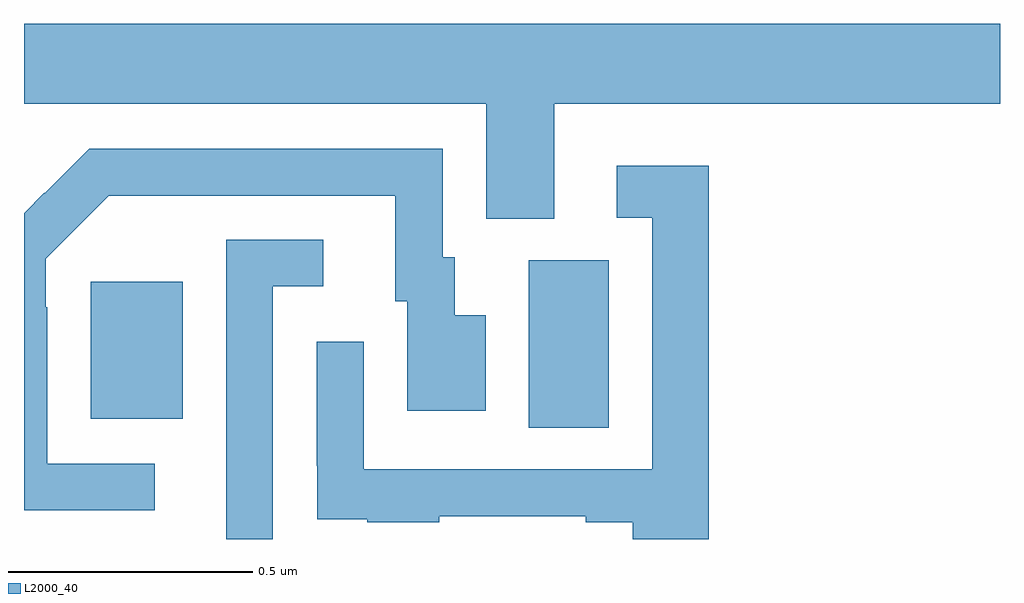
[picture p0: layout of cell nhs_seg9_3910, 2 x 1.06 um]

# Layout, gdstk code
import gdstk
lib = gdstk.Library(unit=1e-6, precision=1e-09)
def R(c, l, rs):  # rectangles x0, y0, x1, y1
    for r in rs: c.add(gdstk.rectangle(r[:2], r[2:], *l))
def P(c, l, *ps):  # polygons
    for p in ps: c.add(gdstk.Polygon(p, *l))
L2000_40 = (2000, 40)

nhs_seg9_3910 = lib.new_cell('nhs_seg9_3910')
R(nhs_seg9_3910, L2000_40, [(160.034,1223.728,160.198,1224.072), (159.137,1223.747,159.325,1224.028)])
P(nhs_seg9_3910, L2000_40, [(160.087,1224.392),(161,1224.392),(161,1224.556),(159,1224.556),(159,1224.392),(159.947,1224.392),(159.947,1224.157),(160.087,1224.157)],
  [(159.268,1223.655),(159.048,1223.655),(159.048,1223.975),(159.045,1223.975),(159.045,1224.075),(159.174,1224.204),(159.761,1224.204),(159.761,1223.988),(159.785,1223.988),(159.785,1223.763),(159.946,1223.763),(159.946,1223.959),(159.883,1223.959),(159.883,1224.078),(159.858,1224.078),(159.858,1224.3),(159.134,1224.3),(159.043,1224.209),(159.042,1224.21),(159,1224.168),(159,1223.559),(159.268,1223.559)],
  [(160.403,1224.265),(160.215,1224.265),(160.215,1224.159),(160.287,1224.159),(160.287,1223.643),(159.696,1223.643),(159.696,1223.905),(159.6,1223.905),(159.6,1223.65),(159.601,1223.65),(159.601,1223.541),(159.703,1223.541),(159.703,1223.535),(159.851,1223.535),(159.851,1223.547),(160.151,1223.547),(160.151,1223.535),(160.247,1223.535),(160.247,1223.5),(160.403,1223.5)],
  [(159.51,1224.018),(159.613,1224.018),(159.613,1224.114),(159.414,1224.114),(159.414,1223.5),(159.51,1223.5)])

lib.write_gds('nhs_seg9_3910.gds')
